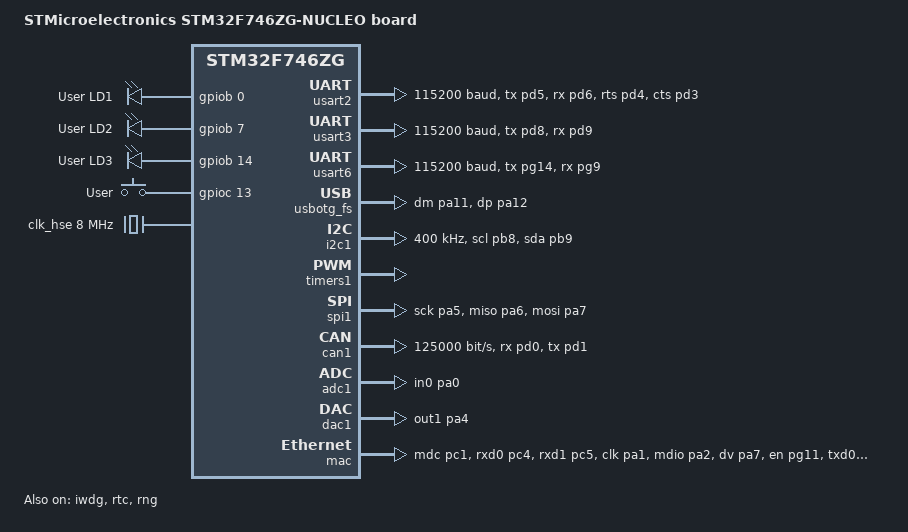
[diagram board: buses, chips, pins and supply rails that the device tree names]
/*
 * Copyright (c) 2018 AJ Palmer
 *
 * SPDX-License-Identifier: Apache-2.0
 */

/dts-v1/;
#include <st/f7/stm32f746Xg.dtsi>
#include <st/f7/stm32f746zgtx-pinctrl.dtsi>
#include "arduino_r3_connector.dtsi"

/*
 * WARNING: The pin PA7 will conflict on selection of SPI_1 and ETH_STM32_HAL.
 *          If you require both peripherals, and you do not need Arduino Uno v3
 *          compatibility, the pin PB5 (also on ST Zio connector) can be used
 *          for the SPI_1 MOSI signal.
 */

/ {
	model = "STMicroelectronics STM32F746ZG-NUCLEO board";
	compatible = "st,stm32f746zg-nucleo";

	chosen {
		zephyr,console = &usart3;
		zephyr,shell-uart = &usart3;
		zephyr,sram = &sram0;
		zephyr,flash = &flash0;
		zephyr,dtcm = &dtcm;
		zephyr,canbus = &can1;
	};

	leds {
		compatible = "gpio-leds";
		green_led: led_0 {
			gpios = <&gpiob 0 GPIO_ACTIVE_HIGH>;
			label = "User LD1";
		};
		blue_led: led_1 {
			gpios = <&gpiob 7 GPIO_ACTIVE_HIGH>;
			label = "User LD2";
		};
		red_led: led_2 {
			gpios = <&gpiob 14 GPIO_ACTIVE_HIGH>;
			label = "User LD3";
		};
	};

	gpio_keys {
		compatible = "gpio-keys";
		user_button: button_0 {
			label = "User";
			gpios = <&gpioc 13 GPIO_ACTIVE_HIGH>;
		};
	};

	aliases {
		led0 = &green_led;
		led1 = &blue_led;
		led2 = &red_led;
		sw0 = &user_button;
	};
};

&clk_hse {
	hse-bypass;
	clock-frequency = <DT_FREQ_M(8)>; /* STLink 8MHz clock */
	status = "okay";
};

&pll {
	div-m = <4>;
	mul-n = <72>;
	div-p = <2>;
	div-q = <3>;
	clocks = <&clk_hse>;
	status = "okay";
};

&rcc {
	clocks = <&pll>;
	clock-frequency = <DT_FREQ_M(72)>;
	ahb-prescaler = <1>;
	apb1-prescaler = <2>;
	apb2-prescaler = <1>;
};

&usart2 {
	pinctrl-0 = <&usart2_tx_pd5 &usart2_rx_pd6
		     &usart2_rts_pd4 &usart2_cts_pd3>;
	pinctrl-names = "default";
	current-speed = <115200>;
};

&usart3 {
	pinctrl-0 = <&usart3_tx_pd8 &usart3_rx_pd9>;
	pinctrl-names = "default";
	current-speed = <115200>;
	status = "okay";
};

&usart6 {
	pinctrl-0 = <&usart6_tx_pg14 &usart6_rx_pg9>;
	pinctrl-names = "default";
	current-speed = <115200>;
	status = "okay";
};

zephyr_udc0: &usbotg_fs {
	pinctrl-0 = <&usb_otg_fs_dm_pa11 &usb_otg_fs_dp_pa12>;
	pinctrl-names = "default";
	status = "okay";
};

&i2c1 {
	pinctrl-0 = <&i2c1_scl_pb8 &i2c1_sda_pb9>;
	pinctrl-names = "default";
	status = "okay";
	clock-frequency = <I2C_BITRATE_FAST>;
};

&timers1 {
	st,prescaler = <10000>;
	status = "okay";

	pwm1: pwm {
		status = "okay";
		pinctrl-0 = <&tim1_ch3_pe13>;
		pinctrl-names = "default";
	};
};

&spi1 {
	pinctrl-0 = <&spi1_sck_pa5 &spi1_miso_pa6 &spi1_mosi_pa7>;
	pinctrl-names = "default";
	cs-gpios = <&gpiod 14 (GPIO_ACTIVE_LOW | GPIO_PULL_UP)>;
	status = "okay";
};

&iwdg {
	status = "okay";
};

&rtc {
	status = "okay";
};

&can1 {
	pinctrl-0 = <&can1_rx_pd0 &can1_tx_pd1>;
	pinctrl-names = "default";
	bus-speed = <125000>;
	status = "okay";
};

&dma2 {
	status = "okay";
};

&adc1 {
	pinctrl-0 = <&adc1_in0_pa0>;
	pinctrl-names = "default";
	status = "okay";
};

&dac1 {
	pinctrl-0 = <&dac_out1_pa4>;
	pinctrl-names = "default";
	status = "okay";
};

&rng {
	status = "okay";
};

&mac {
	status = "okay";
	pinctrl-0 = <&eth_mdc_pc1
		     &eth_rxd0_pc4
		     &eth_rxd1_pc5
		     &eth_ref_clk_pa1
		     &eth_mdio_pa2
		     &eth_crs_dv_pa7
		     &eth_tx_en_pg11
		     &eth_txd0_pg13
		     &eth_txd1_pb13>;
	pinctrl-names = "default";
};

&backup_sram {
	status = "okay";
};
